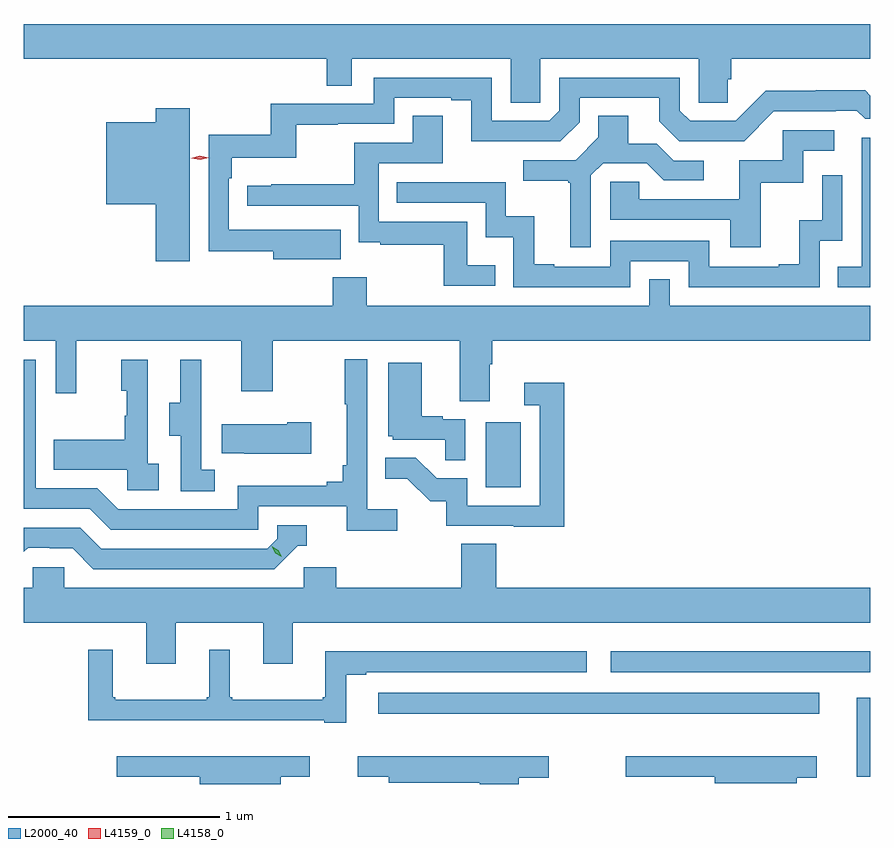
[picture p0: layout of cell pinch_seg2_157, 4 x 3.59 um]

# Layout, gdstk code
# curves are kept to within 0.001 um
import gdstk
lib = gdstk.Library(unit=1e-6, precision=1e-09)
def R(c, l, rs):  # rectangles x0, y0, x1, y1
    for r in rs: c.add(gdstk.rectangle(r[:2], r[2:], *l))
def P(c, l, *ps):  # polygons
    for p in ps: c.add(gdstk.Polygon(p, *l))
L2000_40 = (2000, 40)
L4158_0 = (4158, 0)
L4159_0 = (4159, 0)

pinch_seg2_157 = lib.new_cell('pinch_seg2_157')
R(pinch_seg2_157, L2000_40, [(1121.27,625.596,1121.334,625.969), (1119.009,625.895,1121.092,625.992), (1120.107,626.091,1121.334,626.188), (1119.518,626.964,1119.682,627.271)])
P(pinch_seg2_157, L2000_40, [(1119.774,628.988),(1120.524,628.988),(1120.524,628.78),(1120.661,628.78),(1120.661,628.89),(1120.676,628.89),(1120.676,628.988),(1121.334,628.988),(1121.334,629.152),(1117.334,629.152),(1117.334,628.988),(1118.767,628.988),(1118.767,628.861),(1118.883,628.861),(1118.883,628.988),(1119.635,628.988),(1119.635,628.78),(1119.774,628.78)],
  [(1118.831,628.18),(1118.304,628.179),(1118.304,628.424),(1118.318,628.424),(1118.318,628.52),(1118.623,628.52),(1118.623,628.675),(1118.819,628.675),(1118.819,628.68),(1119.084,628.68),(1119.084,628.803),(1119.353,628.803),(1119.353,628.791),(1119.449,628.791),(1119.449,628.598),(1119.87,628.599),(1119.96,628.689),(1119.96,628.803),(1120.337,628.803),(1120.337,628.693),(1120.431,628.599),(1120.737,628.599),(1120.878,628.74),(1121.171,628.74),(1121.171,628.743),(1121.27,628.743),(1121.309,628.704),(1121.334,628.704),(1121.334,628.814),(1121.309,628.84),(1121.076,628.84),(1121.076,628.837),(1120.84,628.837),(1120.698,628.695),(1120.482,628.695),(1120.434,628.743),(1120.434,628.899),(1119.864,628.899),(1119.864,628.743),(1119.816,628.695),(1119.546,628.695),(1119.546,628.899),(1118.988,628.899),(1118.988,628.776),(1118.502,628.776),(1118.502,628.63),(1118.208,628.63),(1118.208,628.078),(1118.513,628.078),(1118.513,628.04),(1118.831,628.04)],
  [(1118.119,628.753),(1117.958,628.753),(1117.958,628.687),(1117.724,628.687),(1117.724,628.301),(1117.958,628.301),(1117.958,628.032),(1118.119,628.032)],
  [(1119.563,628.012),(1119.429,628.012),(1119.429,628.218),(1119.012,628.218),(1119.012,628.494),(1119.313,628.494),(1119.313,628.718),(1119.173,628.718),(1119.173,628.59),(1118.896,628.59),(1118.896,628.394),(1118.503,628.394),(1118.503,628.389),(1118.391,628.389),(1118.391,628.293),(1118.916,628.293),(1118.916,628.121),(1119.019,628.121),(1119.019,628.11),(1119.318,628.11),(1119.318,627.915),(1119.563,627.915)],
  [(1120.014,628.437),(1120.071,628.494),(1120.277,628.494),(1120.358,628.413),(1120.546,628.413),(1120.546,628.506),(1120.404,628.506),(1120.324,628.586),(1120.189,628.586),(1120.189,628.718),(1120.049,628.718),(1120.049,628.616),(1119.942,628.509),(1119.693,628.509),(1119.693,628.412),(1119.906,628.412),(1119.906,628.401),(1119.917,628.401),(1119.917,628.098),(1120.014,628.098)],
  [(1120.817,628.401),(1121.016,628.401),(1121.016,628.554),(1121.164,628.554),(1121.164,628.65),(1120.92,628.65),(1120.92,628.509),(1120.715,628.509),(1120.715,628.323),(1120.241,628.323),(1120.241,628.407),(1120.104,628.407),(1120.104,628.227),(1120.673,628.227),(1120.673,628.098),(1120.817,628.098)],
  [(1121.334,628.614),(1121.292,628.614),(1121.292,628.005),(1121.179,628.005),(1121.179,627.909),(1121.334,627.909)],
  [(1120.2,628.032),(1120.476,628.032),(1120.476,627.909),(1121.094,627.909),(1121.094,628.128),(1121.202,628.128),(1121.202,628.438),(1121.106,628.438),(1121.106,628.226),(1120.997,628.226),(1120.997,628.018),(1120.901,628.018),(1120.901,628.005),(1120.572,628.005),(1120.572,628.128),(1120.104,628.128),(1120.104,628.005),(1119.841,628.005),(1119.841,628.018),(1119.745,628.018),(1119.745,628.243),(1119.612,628.243),(1119.612,628.404),(1119.097,628.404),(1119.097,628.308),(1119.516,628.308),(1119.516,628.145),(1119.648,628.145),(1119.648,627.909),(1120.2,627.909)],
  [(1119.535,627.544),(1119.548,627.544),(1119.548,627.656),(1121.334,627.656),(1121.334,627.82),(1120.386,627.82),(1120.386,627.947),(1120.29,627.947),(1120.29,627.82),(1118.955,627.82),(1118.955,627.955),(1118.795,627.955),(1118.795,627.82),(1117.334,627.82),(1117.334,627.656),(1117.485,627.656),(1117.485,627.408),(1117.583,627.408),(1117.583,627.656),(1118.363,627.656),(1118.363,627.417),(1118.511,627.417),(1118.511,627.656),(1119.395,627.656),(1119.395,627.37),(1119.535,627.37)],
  [(1119.1,626.86),(1118.958,626.86),(1118.958,627.568),(1118.85,627.568),(1118.85,627.355),(1118.861,627.355),(1118.861,627.067),(1118.842,627.067),(1118.842,626.99),(1118.765,626.99),(1118.765,626.971),(1118.346,626.971),(1118.346,626.859),(1117.782,626.859),(1117.683,626.958),(1117.392,626.958),(1117.392,627.567),(1117.334,627.567),(1117.334,626.862),(1117.646,626.862),(1117.745,626.763),(1118.442,626.763),(1118.442,626.874),(1118.861,626.874),(1118.861,626.758),(1119.1,626.758)],
  [(1118.236,627.047),(1118.172,627.047),(1118.172,627.351),(1118.174,627.351),(1118.174,627.565),(1118.075,627.565),(1118.075,627.363),(1118.021,627.363),(1118.021,627.208),(1118.076,627.208),(1118.076,626.944),(1118.236,626.944)],
  [(1117.972,627.074),(1117.92,627.074),(1117.92,627.565),(1117.796,627.565),(1117.796,627.42),(1117.822,627.42),(1117.822,627.302),(1117.812,627.302),(1117.812,627.187),(1117.477,627.187),(1117.477,627.047),(1117.824,627.047),(1117.824,626.949),(1117.972,626.949)],
  [(1119.42,627.285),(1119.314,627.285),(1119.314,627.298),(1119.214,627.298),(1119.214,627.553),(1119.056,627.553),(1119.056,627.204),(1119.078,627.204),(1119.078,627.189),(1119.325,627.189),(1119.325,627.091),(1119.42,627.091)],
  [(1119.887,627.457),(1119.699,627.457),(1119.699,627.351),(1119.771,627.351),(1119.771,626.877),(1119.429,626.877),(1119.429,627.006),(1119.285,627.006),(1119.187,627.104),(1119.043,627.104),(1119.043,627.005),(1119.147,627.005),(1119.254,626.898),(1119.331,626.898),(1119.331,626.781),(1119.649,626.781),(1119.649,626.776),(1119.887,626.776)],
  [(1118.692,627.27),(1118.579,627.27),(1118.579,627.262),(1118.269,627.262),(1118.269,627.125),(1118.377,627.125),(1118.377,627.122),(1118.692,627.122)],
  [(1118.628,626.688),(1118.671,626.688),(1118.671,626.784),(1118.532,626.784),(1118.532,626.721),(1118.484,626.673),(1117.701,626.673),(1117.602,626.772),(1117.334,626.772),(1117.334,626.658),(1117.355,626.679),(1117.458,626.679),(1117.458,626.676),(1117.565,626.676),(1117.664,626.577),(1118.517,626.577)],
  [(1118.053,626.324),(1118.465,626.324),(1118.465,626.13),(1118.605,626.13),(1118.605,626.324),(1121.334,626.324),(1121.334,626.488),(1119.566,626.488),(1119.566,626.696),(1119.401,626.696),(1119.401,626.488),(1118.81,626.488),(1118.81,626.586),(1118.658,626.586),(1118.658,626.488),(1117.527,626.488),(1117.527,626.586),(1117.377,626.586),(1117.377,626.488),(1117.334,626.488),(1117.334,626.324),(1117.913,626.324),(1117.913,626.13),(1118.053,626.13)],
  [(1118.857,626.079),(1118.953,626.079),(1118.953,626.091),(1119.994,626.091),(1119.994,626.188),(1118.759,626.188),(1118.759,625.972),(1118.748,625.972),(1118.748,625.96),(1118.32,625.96),(1118.32,625.972),(1118.308,625.972),(1118.308,626.197),(1118.21,626.197),(1118.21,625.972),(1118.199,625.972),(1118.199,625.96),(1117.768,625.96),(1117.768,625.972),(1117.756,625.972),(1117.756,626.197),(1117.639,626.197),(1117.639,625.862),(1118.753,625.862),(1118.753,625.851),(1118.857,625.851)],
  [(1120.986,625.592),(1121.08,625.592),(1121.08,625.693),(1120.782,625.693),(1120.782,625.694),(1120.179,625.694),(1120.179,625.596),(1120.598,625.596),(1120.598,625.565),(1120.986,625.565)],
  [(1119.673,625.592),(1119.814,625.592),(1119.814,625.693),(1119.16,625.693),(1119.16,625.694),(1118.913,625.694),(1118.913,625.596),(1119.06,625.596),(1119.06,625.568),(1119.489,625.568),(1119.489,625.562),(1119.673,625.562)],
  [(1118.548,625.596),(1118.686,625.596),(1118.686,625.693),(1117.773,625.693),(1117.773,625.596),(1118.165,625.596),(1118.165,625.562),(1118.548,625.562)])
P(pinch_seg2_157, L4158_0, [(1118.554,626.635),(1118.523,626.653),(1118.506,626.685),(1118.506,626.686),(1118.507,626.686),(1118.538,626.667),(1118.554,626.635),(1118.554,626.635)])
P(pinch_seg2_157, L4159_0, [(1118.168,628.51),(1118.127,628.518),(1118.127,628.519),(1118.127,628.519),(1118.167,628.53),(1118.208,628.521),(1118.209,628.521),(1118.208,628.52)])

lib.write_gds('pinch_seg2_157.gds')
